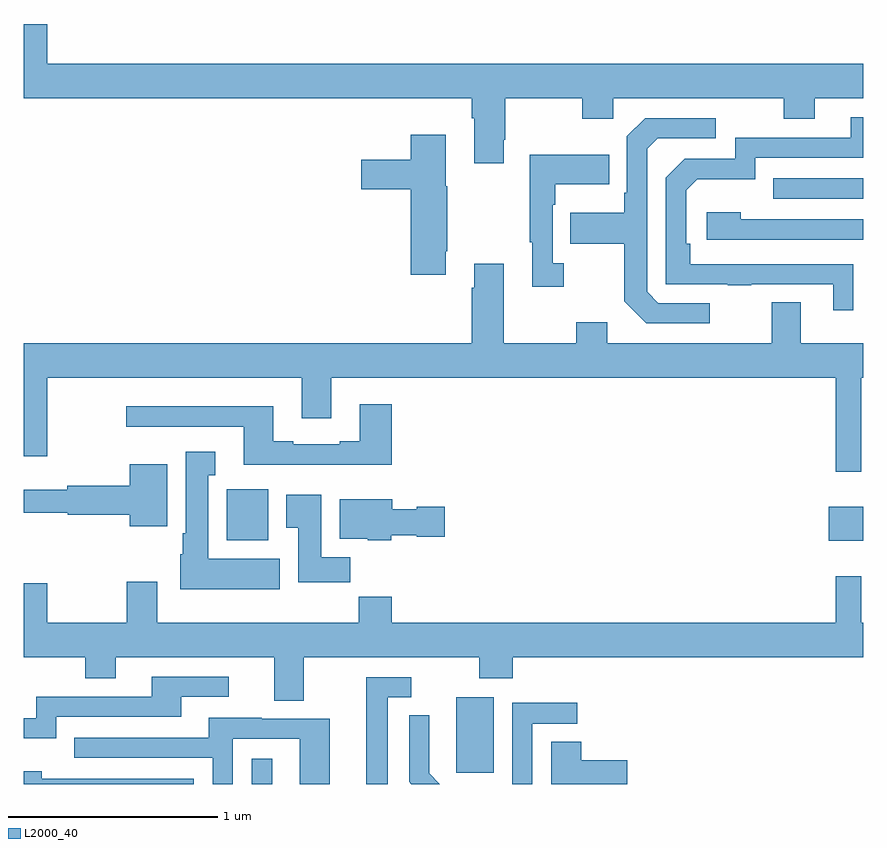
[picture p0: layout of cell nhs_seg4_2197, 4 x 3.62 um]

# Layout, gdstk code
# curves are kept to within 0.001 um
import gdstk
lib = gdstk.Library(unit=1e-6, precision=1e-09)
def R(c, l, rs):  # rectangles x0, y0, x1, y1
    for r in rs: c.add(gdstk.rectangle(r[:2], r[2:], *l))
def P(c, l, *ps):  # polygons
    for p in ps: c.add(gdstk.Polygon(p, *l))
L2000_40 = (2000, 40)

nhs_seg4_2197 = lib.new_cell('nhs_seg4_2197')
R(nhs_seg4_2197, L2000_40, [(226.086,778.9,226.183,779.02), (227.06,778.953,227.239,779.314), (228.836,780.059,229,780.22), (225.968,780.062,226.165,780.304), (228.571,781.689,229,781.785)])
P(nhs_seg4_2197, L2000_40, [(227.287,781.969),(227.295,781.969),(227.295,782.168),(227.662,782.168),(227.662,782.069),(227.808,782.069),(227.808,782.168),(228.622,782.168),(228.622,782.069),(228.769,782.069),(228.769,782.168),(229,782.168),(229,782.332),(225.112,782.332),(225.112,782.521),(225,782.521),(225,782.168),(227.135,782.168),(227.135,782.072),(227.147,782.072),(227.147,781.857),(227.287,781.857)],
  [(228.953,781.376),(228.176,781.377),(228.176,781.474),(228.156,781.474),(228.156,781.728),(228.209,781.781),(228.486,781.781),(228.486,781.884),(229,781.884),(229,782.076),(228.941,782.076),(228.941,781.98),(228.39,781.98),(228.39,781.878),(228.15,781.878),(228.06,781.788),(228.06,781.281),(228.355,781.281),(228.355,781.276),(228.467,781.276),(228.467,781.281),(228.857,781.281),(228.857,781.158),(228.953,781.158)],
  [(228.268,781.191),(228.024,781.191),(227.97,781.245),(227.97,781.926),(228.021,781.977),(228.298,781.977),(228.298,782.073),(227.961,782.073),(227.874,781.986),(227.874,781.717),(227.862,781.717),(227.862,781.621),(227.605,781.621),(227.605,781.474),(227.862,781.474),(227.862,781.201),(227.967,781.095),(228.268,781.095)],
  [(227.011,781.438),(227.019,781.438),(227.019,781.749),(227.011,781.749),(227.011,781.993),(226.844,781.993),(226.844,781.875),(226.608,781.875),(226.608,781.733),(226.844,781.733),(226.844,781.326),(227.011,781.326)],
  [(227.572,781.382),(227.52,781.382),(227.52,781.661),(227.533,781.661),(227.533,781.757),(227.789,781.757),(227.789,781.897),(227.412,781.897),(227.412,781.481),(227.423,781.481),(227.423,781.269),(227.572,781.269)],
  [(229,781.59),(228.416,781.59),(228.416,781.624),(228.255,781.624),(228.255,781.494),(229,781.494)],
  [(228.87,780.387),(228.991,780.387),(228.991,780.836),(229,780.836),(229,781),(228.703,781),(228.703,781.195),(228.563,781.195),(228.563,781),(227.779,781),(227.779,781.099),(227.632,781.099),(227.632,781),(227.287,781),(227.287,781.378),(227.147,781.378),(227.147,781.265),(227.135,781.265),(227.135,781),(225,781),(225,780.462),(225.112,780.462),(225.112,780.836),(226.325,780.836),(226.325,780.642),(226.465,780.642),(226.465,780.836),(228.87,780.836)],
  [(226.754,780.709),(226.601,780.709),(226.601,780.532),(226.505,780.532),(226.505,780.519),(226.285,780.519),(226.285,780.532),(226.189,780.532),(226.189,780.7),(225.489,780.7),(225.489,780.603),(226.049,780.603),(226.049,780.422),(226.754,780.422)],
  [(226.219,779.974),(225.88,779.974),(225.88,780.371),(225.913,780.371),(225.913,780.484),(225.773,780.484),(225.773,780.094),(225.758,780.094),(225.758,779.994),(225.746,779.994),(225.746,779.828),(226.219,779.828)],
  [(225.685,780.424),(225.506,780.424),(225.506,780.32),(225.208,780.32),(225.208,780.301),(225,780.301),(225,780.192),(225.21,780.192),(225.21,780.184),(225.506,780.184),(225.506,780.128),(225.685,780.128)],
  [(226.556,779.98),(226.417,779.98),(226.417,780.277),(226.25,780.277),(226.25,780.121),(226.307,780.121),(226.307,779.862),(226.556,779.862)],
  [(226.752,780.086),(226.872,780.086),(226.872,780.079),(227.005,780.079),(227.005,780.221),(226.872,780.221),(226.872,780.208),(226.756,780.208),(226.756,780.256),(226.505,780.256),(226.505,780.068),(226.638,780.068),(226.638,780.062),(226.752,780.062)],
  [(227.17,779.405),(227.33,779.405),(227.33,779.504),(229,779.504),(229,779.668),(228.991,779.668),(228.991,779.89),(228.87,779.89),(228.87,779.668),(226.754,779.668),(226.754,779.792),(226.597,779.792),(226.597,779.668),(225.637,779.668),(225.637,779.863),(225.49,779.863),(225.49,779.668),(225.112,779.668),(225.112,779.857),(225,779.857),(225,779.504),(225.292,779.504),(225.292,779.405),(225.439,779.405),(225.439,779.504),(226.193,779.504),(226.193,779.296),(226.333,779.296),(226.333,779.504),(227.17,779.504)],
  [(225.156,779.22),(225.751,779.22),(225.751,779.316),(225.976,779.316),(225.976,779.412),(225.611,779.412),(225.611,779.316),(225.06,779.316),(225.06,779.214),(225,779.214),(225,779.117),(225.156,779.117)],
  [(226.735,779.313),(226.846,779.313),(226.846,779.409),(226.631,779.409),(226.631,778.9),(226.735,778.9)],
  [(227.424,779.187),(227.638,779.187),(227.638,779.286),(227.328,779.286),(227.328,778.9),(227.424,778.9)],
  [(226.931,778.952),(226.931,779.074),(226.932,779.074),(226.932,779.228),(226.836,779.228),(226.836,778.91),(226.846,778.9),(226.982,778.9)],
  [(225.996,779.115),(226.314,779.115),(226.314,778.9),(226.459,778.9),(226.459,779.211),(226.135,779.211),(226.135,779.215),(225.881,779.215),(225.881,779.121),(225.241,779.121),(225.241,779.025),(225.9,779.025),(225.9,778.9),(225.996,778.9)],
  [(227.875,779.012),(227.657,779.012),(227.657,779.102),(227.513,779.102),(227.513,778.9),(227.875,778.9)],
  [(225.81,778.926),(225.086,778.926),(225.086,778.96),(225,778.96),(225,778.9),(225.81,778.9)])

lib.write_gds('nhs_seg4_2197.gds')
